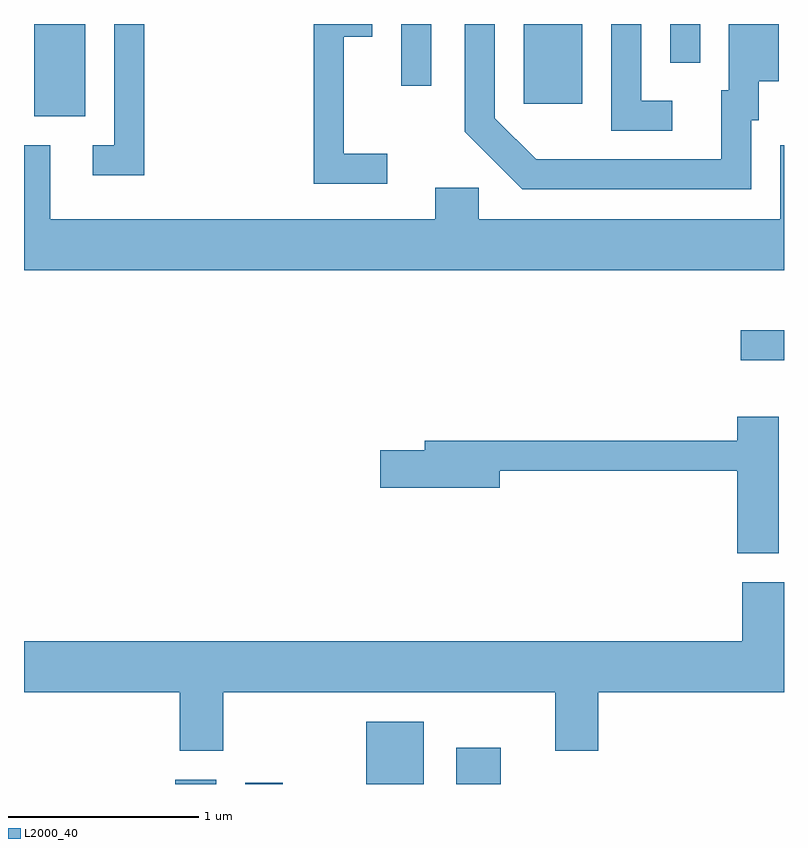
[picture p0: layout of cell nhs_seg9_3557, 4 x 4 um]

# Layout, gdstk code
import gdstk
lib = gdstk.Library(unit=1e-6, precision=1e-09)
def R(c, l, rs):  # rectangles x0, y0, x1, y1
    for r in rs: c.add(gdstk.rectangle(r[:2], r[2:], *l))
def P(c, l, *ps):  # polygons
    for p in ps: c.add(gdstk.Polygon(p, *l))
L2000_40 = (2000, 40)

nhs_seg9_3557 = lib.new_cell('nhs_seg9_3557')
R(nhs_seg9_3557, L2000_40, [(290.406,2002.432,290.624,2002.454), (290.776,2002.432,290.974,2002.439), (291.411,2002.432,291.714,2002.759), (291.886,2002.432,292.119,2002.624), (293.383,2004.661,293.611,2004.819), (289.666,2005.946,289.934,2006.432), (292.241,2006.011,292.549,2006.432), (291.596,2006.108,291.754,2006.432), (293.011,2006.228,293.169,2006.432)])
P(nhs_seg9_3557, L2000_40, [(293.023,2006.029),(292.859,2006.029),(292.859,2006.432),(292.701,2006.432),(292.701,2005.871),(293.023,2005.871)],
  [(291.523,2005.749),(291.294,2005.749),(291.294,2006.366),(291.444,2006.366),(291.444,2006.432),(291.136,2006.432),(291.136,2005.591),(291.523,2005.591)],
  [(293.439,2005.926),(293.479,2005.926),(293.479,2006.131),(293.584,2006.131),(293.584,2006.432),(293.321,2006.432),(293.321,2006.084),(293.281,2006.084),(293.281,2005.719),(292.307,2005.719),(292.089,2005.937),(292.089,2006.432),(291.931,2006.432),(291.931,2005.864),(292.234,2005.561),(293.439,2005.561)],
  [(290.244,2006.432),(290.086,2006.432),(290.086,2005.794),(289.973,2005.794),(289.973,2005.636),(290.244,2005.636)],
  [(293.611,2005.794),(293.591,2005.794),(293.591,2005.404),(292.004,2005.404),(292.004,2005.569),(291.776,2005.569),(291.776,2005.404),(289.749,2005.404),(289.749,2005.794),(289.611,2005.794),(289.611,2005.136),(293.611,2005.136)],
  [(293.584,2004.364),(293.366,2004.364),(293.366,2004.239),(291.721,2004.239),(291.721,2004.189),(291.486,2004.189),(291.486,2003.991),(292.114,2003.991),(292.114,2004.081),(293.366,2004.081),(293.366,2003.646),(293.584,2003.646)],
  [(290.659,2002.916),(292.406,2002.916),(292.406,2002.606),(292.634,2002.606),(292.634,2002.916),(293.611,2002.916),(293.611,2003.494),(293.391,2003.494),(293.391,2003.184),(289.611,2003.184),(289.611,2002.916),(290.431,2002.916),(290.431,2002.606),(290.659,2002.606)])

lib.write_gds('nhs_seg9_3557.gds')
